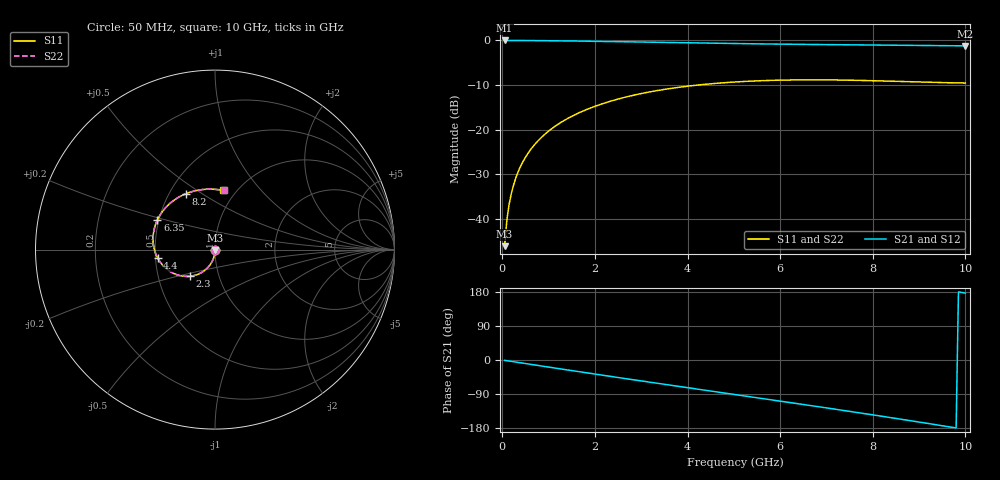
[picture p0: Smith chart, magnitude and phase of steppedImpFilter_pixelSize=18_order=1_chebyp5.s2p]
! freq	dB(S11)	phase(S11)	dB(S12)	phase(S12)
!  dB(S21)	phase(S21)	dB(S22)	phase(S22)
!S-par simulation data
#  GHz  S  DB  R 50
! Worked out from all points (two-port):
!   200 points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, 50 MHz to 10 GHz, reference 50 ohm
!   highest |S21| = 0.00 dB at 50 MHz (marker M1); lowest = -1.2 dB at 10 GHz (marker M2)
!   |S21| within 3 dB of the highest: start of sweep to end of sweep
!   lowest |S11| = -46.2 dB at 50 MHz (marker M3), VSWR 1.01, Z = 50 - j0.492 ohm
!   |S11| at or under -10 dB: start of sweep to 4.227 GHz
!   |S22| runs from -46.2 to -8.8 dB; largest |S21 - S12| = 0
!   S11 on the Smith chart (normalised r, x): 50 MHz: 1.00, -0.01; 2.3 GHz: 0.72, -0.22; 4.4 GHz: 0.51, -0.05; 6.35 GHz: 0.49, +0.19; 8.2 GHz: 0.61, +0.43; 10 GHz: 0.87, +0.65
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0.05  -46.17 -90.8  -0.00 -0.9  -0.00 -0.9  -46.17 -90.8
0.1  -40.15 -91.9  -0.00 -1.9  -0.00 -1.9  -40.15 -91.9
0.15  -36.63 -92.9  -0.00 -2.8  -0.00 -2.8  -36.63 -92.9
0.2  -34.13 -93.9  -0.00 -3.8  -0.00 -3.8  -34.13 -93.9
0.35  -29.29 -96.8  -0.01 -6.6  -0.01 -6.6  -29.29 -96.8
0.5  -26.22 -99.8  -0.02 -9.4  -0.02 -9.4  -26.22 -99.8
0.7  -23.34 -103.7  -0.03 -13.2  -0.03 -13.2  -23.34 -103.7
1  -20.34 -109.4  -0.06 -18.7  -0.06 -18.7  -20.34 -109.4
1.35  -17.87 -116.0  -0.10 -25.2  -0.10 -25.2  -17.87 -116.0
1.75  -15.81 -123.5  -0.15 -32.6  -0.15 -32.6  -15.81 -123.5
2.3  -13.75 -133.6  -0.23 -42.6  -0.23 -42.6  -13.75 -133.6
3.4  -11.15 -153.6  -0.43 -62.4  -0.43 -62.4  -11.15 -153.6
4.4  -9.82 -171.6  -0.60 -80.1  -0.60 -80.1  -9.82 -171.7
5.05  -9.30 176.6  -0.70 -91.6  -0.70 -91.6  -9.30 176.6
5.7  -8.99 164.8  -0.79 -103.1  -0.79 -103.1  -8.99 164.7
6.35  -8.85 152.8  -0.87 -114.7  -0.87 -114.7  -8.85 152.7
6.7  -8.83 146.3  -0.90 -120.9  -0.90 -120.9  -8.83 146.2
7.45  -8.91 132.1  -0.97 -134.6  -0.97 -134.6  -8.91 132.0
8.2  -9.09 117.6  -1.03 -148.5  -1.03 -148.5  -9.09 117.5
8.35  -9.13 114.7  -1.05 -151.3  -1.05 -151.3  -9.13 114.5
9.2  -9.38 97.9  -1.12 -167.6  -1.12 -167.6  -9.38 97.7
10  -9.55 81.8  -1.21 176.7  -1.21 176.7  -9.55 81.6
